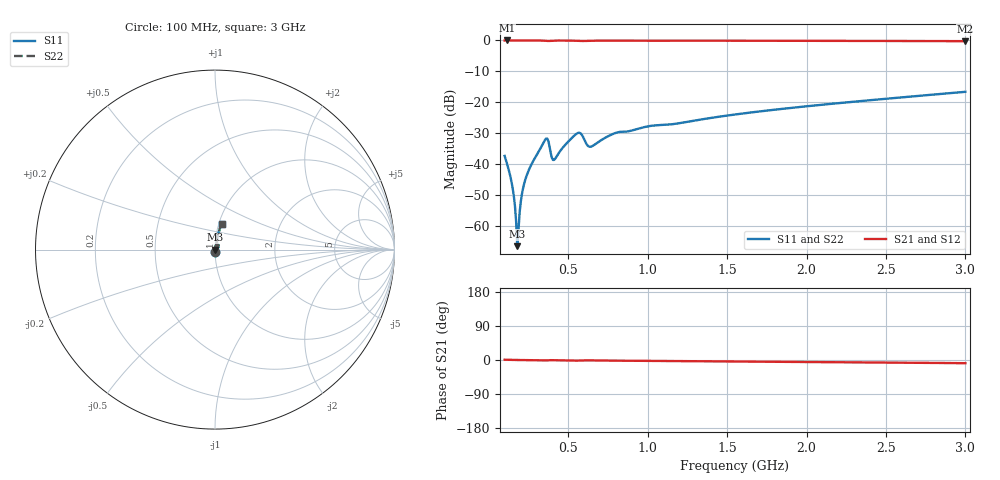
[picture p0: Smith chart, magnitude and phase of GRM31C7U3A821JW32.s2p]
!Murata Part Number: GRM31C7U3A821JW32
!These Parameters are Measured in Series Mode Connection
!Data Generated on Mar 30, 2021
!  o--ll--o
!Port1  Port2
!  o------o
!Operation Temp=25[degC], DC Bias Voltage=0[V]
!Freq. Start=100[MHz] Stop=3[GHz] 401[Steps]
# Hz S RI R 50
!Freq.(Hz) S11(Real) S11(Imag) S21(Real) S21(Imag) S12(Real) S12(Imag) S22(Real) S22(Imag)
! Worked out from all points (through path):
!   401 points, 100 MHz to 3 GHz, reference 50 ohm
!   highest |S21| = 0.00 dB at 114.5 MHz (marker M1); lowest = -0.2 dB at 3 GHz (marker M2)
!   group delay of S21, straight-line fit = 7.87 ps
!   lowest |S11| = -66.4 dB at 179.8 MHz (marker M3), VSWR 1.00, Z = 50 - j0.0198 ohm
!   |S11| at or under -10 dB: start of sweep to end of sweep
!   |S22| runs from -66.4 to -16.6 dB; largest |S21 - S12| = 0
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1e8  0.000401 -0.0137  0.9996 0.0137  0.9996 0.0137  0.000401 -0.0137
1.145e8  0.000349 -0.0103  0.9997 0.0103  0.9997 0.0103  0.000349 -0.0103
1.435e8  0.000338 -0.00518  0.9997 0.00518  0.9997 0.00518  0.000338 -0.00518
1.58e8  0.000364 -0.00305  0.9996 0.00305  0.9996 0.00305  0.000364 -0.00305
1.725e8  0.000406 -0.00111  0.9996 0.00111  0.9996 0.00111  0.000406 -0.00111
1.7975e8  0.000433 -0.000198  0.9996 0.000198  0.9996 0.000198  0.000433 -0.000198
1.9425e8  0.000499 0.00155  0.9995 -0.00155  0.9995 -0.00155  0.000499 0.00155
2.0875e8  0.000583 0.00322  0.9994 -0.00322  0.9994 -0.00322  0.000583 0.00322
2.3775e8  0.000818 0.00642  0.9992 -0.00642  0.9992 -0.00642  0.000818 0.00642
3.5375e8  0.0108 0.0221  0.9892 -0.0221  0.9892 -0.0221  0.0108 0.0221
3.6825e8  0.0181 0.0187  0.9819 -0.0187  0.9819 -0.0187  0.0181 0.0187
4.1175e8  0.00661 0.00975  0.9934 -0.00975  0.9934 -0.00975  0.00661 0.00975
5.4225e8  0.0104 0.0278  0.9896 -0.0278  0.9896 -0.0278  0.0104 0.0278
5.8575e8  0.0204 0.0221  0.9796 -0.0221  0.9796 -0.0221  0.0204 0.0221
6.22e8  0.0131 0.0152  0.9869 -0.0152  0.9869 -0.0152  0.0131 0.0152
6.4375e8  0.00925 0.0169  0.9908 -0.0169  0.9908 -0.0169  0.00925 0.0169
8.0325e8  0.00782 0.0314  0.9922 -0.0314  0.9922 -0.0314  0.00782 0.0314
1.0715e9  0.0118 0.0412  0.9882 -0.0412  0.9882 -0.0412  0.0118 0.0412
1.55e9  0.0117 0.0626  0.9883 -0.0626  0.9883 -0.0626  0.0117 0.0626
2.03575e9  0.0176 0.0865  0.9824 -0.0865  0.9824 -0.0865  0.0176 0.0865
2.5215e9  0.0256 0.1128  0.9744 -0.1128  0.9744 -0.1128  0.0256 0.1128
3e9  0.0369 0.1435  0.9631 -0.1435  0.9631 -0.1435  0.0369 0.1435
